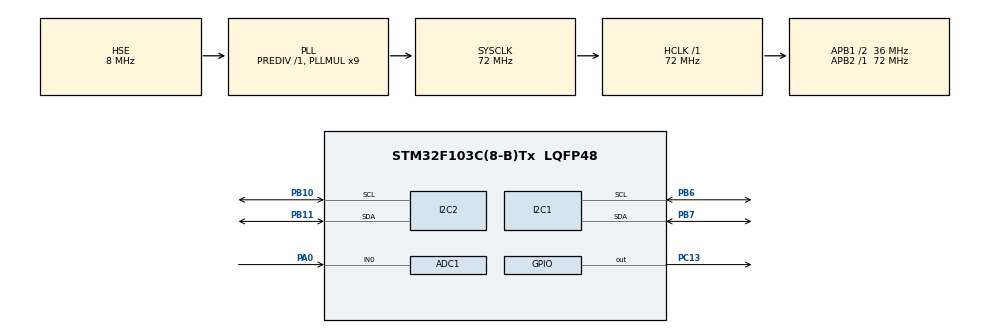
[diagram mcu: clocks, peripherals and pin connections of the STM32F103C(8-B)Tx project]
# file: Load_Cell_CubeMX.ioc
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ADC1.Channel-0\#ChannelRegularConversion=ADC_CHANNEL_0
ADC1.ContinuousConvMode=ENABLE
ADC1.EnableRegularConversion=ENABLE
ADC1.NbrOfConversionFlag=1
ADC1.Rank-0\#ChannelRegularConversion=1
ADC1.SamplingTime-0\#ChannelRegularConversion=ADC_SAMPLETIME_41CYCLES_5
ADC1.master=1
Dma.ADC1.0.Direction=DMA_PERIPH_TO_MEMORY
Dma.ADC1.0.Instance=DMA1_Channel1
Dma.ADC1.0.MemDataAlignment=DMA_MDATAALIGN_HALFWORD
Dma.ADC1.0.MemInc=DMA_MINC_ENABLE
Dma.ADC1.0.Mode=DMA_CIRCULAR
Dma.ADC1.0.PeriphDataAlignment=DMA_PDATAALIGN_WORD
Dma.ADC1.0.PeriphInc=DMA_PINC_DISABLE
Dma.ADC1.0.Priority=DMA_PRIORITY_LOW
Dma.Request0=ADC1
Mcu.Family=STM32F1
Mcu.Name=STM32F103C(8-B)Tx
Mcu.Package=LQFP48
NVIC.ADC1_2_IRQn=true\:0\:0\:false\:false\:true\:true\:true
NVIC.DMA1_Channel1_IRQn=true\:0\:0\:false\:false\:true\:false\:true
NVIC.PriorityGroup=NVIC_PRIORITYGROUP_4
PA0-WKUP.Signal=ADCx_IN0
PA13.Mode=Serial_Wire
PA13.Signal=SYS_JTMS-SWDIO
PA14.Mode=Serial_Wire
PA14.Signal=SYS_JTCK-SWCLK
PB10.Mode=I2C
PB10.Signal=I2C2_SCL
PB11.Mode=I2C
PB11.Signal=I2C2_SDA
PB6.Mode=I2C
PB6.Signal=I2C1_SCL
PB7.Mode=I2C
PB7.Signal=I2C1_SDA
PC13-TAMPER-RTC.Signal=GPIO_Output
PD0-OSC_IN.Mode=HSE-External-Oscillator
PD0-OSC_IN.Signal=RCC_OSC_IN
PD1-OSC_OUT.Mode=HSE-External-Oscillator
PD1-OSC_OUT.Signal=RCC_OSC_OUT
ProjectManager.HeapSize=0x200
ProjectManager.StackSize=0x400
ProjectManager.TargetToolchain=MDK-ARM V5
RCC.ADCPresc=RCC_ADCPCLK2_DIV6
RCC.AHBFreq_Value=72000000
RCC.APB1CLKDivider=RCC_HCLK_DIV2
RCC.APB1Freq_Value=36000000
RCC.APB1TimFreq_Value=72000000
RCC.APB2Freq_Value=72000000
RCC.APB2TimFreq_Value=72000000
RCC.HCLKFreq_Value=72000000
RCC.PLLMUL=RCC_PLL_MUL9
RCC.PLLSourceVirtual=RCC_PLLSOURCE_HSE
RCC.SYSCLKFreq_VALUE=72000000
RCC.SYSCLKSource=RCC_SYSCLKSOURCE_PLLCLK
RCC.USBFreq_Value=72000000
SH.ADCx_IN0.0=ADC1_IN0,IN0
TIM1.Period=0xffff-1
TIM1.Prescaler=1-1
VP_ADC1_TempSens_Input.Mode=IN-TempSens
VP_TIM1_VS_ClockSourceINT.Mode=Internal
board=custom

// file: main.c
/* USER CODE BEGIN Header */
/**
  ******************************************************************************
  * @file           : main.c
  * @brief          : Main program body
  ******************************************************************************
  * @attention
  *
  * <h2><center>&copy; Copyright (c) 2019 STMicroelectronics.
  * All rights reserved.</center></h2>
  *
  * This software component is licensed by ST under BSD 3-Clause license,
  * the "License"; You may not use this file except in compliance with the
  * License. You may obtain a copy of the License at:
  *                        opensource.org/licenses/BSD-3-Clause
  *
  ******************************************************************************
  */
/* USER CODE END Header */

#include "main.h"

/* USER CODE BEGIN Includes */
#include "i2c-lcd.h"
#include "stdio.h"
/* USER CODE END Includes */

ADC_HandleTypeDef hadc1;
DMA_HandleTypeDef hdma_adc1;

I2C_HandleTypeDef hi2c1;
I2C_HandleTypeDef hi2c2;

TIM_HandleTypeDef htim1;

/* USER CODE BEGIN PV */
double adc_value;
unsigned long int sample;
double sum;
//char adc_lcd;
//char *test=&adc_lcd;
char adc_lcd_memory;
char *adc_lcd=&adc_lcd_memory;
char offset_lcd_memory;
char *offset_lcd=&offset_lcd_memory;
double weight;
double weight_pre;
double adc_offset =300;
double pre;
double gain;
uint32_t adc_dma;
/* USER CODE END PV */

void SystemClock_Config(void);
static void MX_GPIO_Init(void);
static void MX_ADC1_Init(void);
static void MX_I2C1_Init(void);
static void MX_DMA_Init(void);
static void MX_I2C2_Init(void);
static void MX_TIM1_Init(void);
/* USER CODE BEGIN PFP */

void HAL_ADC_ConvCpltCallback(ADC_HandleTypeDef* hadc)
{
	//if(hadc->Instance==hadc1.Instance)
		//sum+=HAL_ADC_GetValue(&hadc1);
		/*sum+=adc_dma;
		sample++;
		HAL_ADC_Stop_DMA(&hadc1);
		HAL_ADC_Start_DMA(&hadc1,&adc_dma,32);
		if (sample==1400)
		{
			HAL_ADC_Stop_DMA(&hadc1);
		}*/
}
void delay (uint16_t delay)
{__HAL_TIM_SET_COUNTER(&htim1,0);
while(__HAL_TIM_GET_COUNTER(&htim1)<delay);
}
void delay1s(void)
{for(int i=1;i<40000;i++)
	delay(100);}
void clear_lcd(void)
{lcd_goto_XY(1,0);
	lcd_send_string("                ");
	lcd_goto_XY(2,0);
	lcd_send_string("                ");
}
void clear_warning(void)
{lcd_goto_XY(2,10);
	lcd_send_string("            ");
}
double lowpass(double pre, uint32_t now)
{
	return((1-0.00042094746)*pre+0.00042094746*(float)now);
}
void get_weight(void)
{ sum=0;
	sample=0;
	while(sample<3000)
	{//sum+=adc_dma;
		pre=lowpass(pre,adc_dma);
		sum+=pre;
		sample++;
	}
	adc_value=sum/(double)sample;
	weight=gain*(adc_value-adc_offset);
}
double average(void)
{double sum_average=0;
	double sample_average=0;
	while (sample_average<5)
	{sum_average+=(double) adc_dma;
		sample_average++;
	}
	return(sum_average/sample_average);}
void calculate_offset()
{ double sum=0;
	clear_lcd();
	for(int i=0;i<3;i++)
	{
	lcd_goto_XY(1,0);
	lcd_send_string ("Tinh toan diem 0 cua can: ");
	//get_weight();
	sum+=average();
	lcd_goto_XY(2,5*i-1);
	lcd_send_string (".......");
	}
	adc_offset=sum/3.0;
	clear_lcd();
	lcd_goto_XY(1,0);
	lcd_send_string ("Gia tri Vref: ");
	sprintf(offset_lcd,"%3.8f",adc_offset*3.2/4095);
	lcd_goto_XY(2,0);
	lcd_send_string(offset_lcd);
	lcd_goto_XY(2,10);
	lcd_send_string ("V");
	lcd_goto_XY(2,12);
	sprintf(offset_lcd,"%d",(int) adc_offset);
	lcd_send_string(offset_lcd);
	for(int i=1;i<20000;i++)
	delay(100);
	clear_lcd();
	lcd_goto_XY(1,0);
	lcd_send_string ("Dat vat len can ");
	for(int i=1;i<40000;i++)
	delay(100);
}
void warning_high_adc()
{ clear_lcd();
	lcd_goto_XY(1,0);
	lcd_send_string("     Luu y:  ");
	delay1s();
	clear_lcd();
	lcd_goto_XY(1,0);
	lcd_send_string("Vuot qua khoi   ");
	lcd_goto_XY(2,0);
	lcd_send_string("luong do duoc  ");
	delay1s();
	delay1s();
	clear_lcd();
	lcd_goto_XY(1,0);
	lcd_send_string("   Huong dan: ");
	delay1s();
	clear_lcd();
	lcd_goto_XY(1,0);
	lcd_send_string("Giam khoi luong");
	lcd_goto_XY(2,0);
	lcd_send_string("hoac van Vref ");
	delay1s();
	delay1s();
	clear_lcd();
	lcd_goto_XY(1,0);
	lcd_send_string("nguoc chieu kim");
	lcd_goto_XY(2,0);
	delay1s();
	delay1s();
	clear_lcd();
	lcd_goto_XY(1,0);
	lcd_send_string("   Nhac lai: ");
	delay1s();
	clear_lcd();
	lcd_goto_XY(1,0);
	lcd_send_string("Giam khoi luong");
	lcd_goto_XY(2,0);
	lcd_send_string("hoac van Vref ");
	delay1s();
	delay1s();
	clear_lcd();
	lcd_goto_XY(1,0);
	lcd_send_string("nguoc chieu kim");
	lcd_goto_XY(2,0);
	lcd_send_string("dong ho ");
	delay1s();
	delay1s();
	clear_lcd();
}
void warning_low_adc()
{ clear_lcd();
	lcd_goto_XY(1,0);
	lcd_send_string("     Luu y:  ");
	delay1s();
	clear_lcd();
	lcd_goto_XY(1,0);
	lcd_send_string ("Tang Vref len de");
	lcd_goto_XY(2,0);
	lcd_send_string ("co ket qua chuan");
	delay1s();
	delay1s();
	clear_lcd();
	lcd_goto_XY(1,0);
	lcd_send_string("   Huong dan: ");
	delay1s();
	clear_lcd();
	lcd_goto_XY(1,0);
	lcd_send_string(" Van Vref cung ");
	lcd_goto_XY(2,0);
	lcd_send_string(" chieu dong ho");
	delay1s();
	delay1s();
	clear_lcd();
	lcd_goto_XY(1,0);
	lcd_send_string("   Nhac lai: ");
	delay1s();
	clear_lcd();
	lcd_goto_XY(1,0);
	lcd_send_string(" Van Vref cung ");
	lcd_goto_XY(2,0);
	lcd_send_string(" chieu dong ho");
	delay1s();
	delay1s();
	clear_lcd();
}
void main_warning_low__adc()
	{
	clear_lcd();
	lcd_goto_XY(1,0);
	lcd_send_string("     Luu y:  ");
	HAL_Delay(1000);
	clear_lcd();
	lcd_goto_XY(1,0);
	lcd_send_string ("Tang Vref len de");
	lcd_goto_XY(2,0);
	lcd_send_string ("co ket qua chuan");
	HAL_Delay(2000);
	clear_lcd();
	lcd_goto_XY(1,0);
	lcd_send_string("   Huong dan: ");
	HAL_Delay(1000);
	clear_lcd();
	lcd_goto_XY(1,0);
	lcd_send_string(" Van Vref cung ");
	lcd_goto_XY(2,0);
	lcd_send_string(" chieu dong ho");
	HAL_Delay(2000);
	clear_lcd();
	lcd_goto_XY(1,0);
	lcd_send_string("   Nhac lai: ");
	HAL_Delay(1000);
	clear_lcd();
	lcd_goto_XY(1,0);
	lcd_send_string(" Van Vref cung ");
	lcd_goto_XY(2,0);
	lcd_send_string(" chieu dong ho");
	HAL_Delay(2000);
	clear_lcd();
}
/* USER CODE END PFP */

int main(void)
{

  /* MCU Configuration--------------------------------------------------------*/

  /* Reset of all peripherals, Initializes the Flash interface and the Systick. */
  HAL_Init();

  /* Configure the system clock */
  SystemClock_Config();

  /* Initialize all configured peripherals */
  MX_GPIO_Init();
  MX_ADC1_Init();
  MX_I2C1_Init();
  MX_DMA_Init();
  MX_I2C2_Init();
  MX_TIM1_Init();
  /* USER CODE BEGIN 2 */
	HAL_TIM_Base_Start(&htim1);
	if( HAL_ADC_Start(&hadc1) != HAL_OK)
  return 0;
	if (HAL_ADC_Start_DMA(&hadc1,&adc_dma, 1) != HAL_OK)
  return 0;
	HAL_Delay(100);
	lcd_init();
	/*for(int i=0;i<4;i++)
	{
	lcd_goto_XY(1,0);
	lcd_send_string ("Lay vat khoi can");
	lcd_goto_XY(2,4*i);
	lcd_send_string ("....");
	HAL_Delay(100);}*/
	calculate_offset();
	pre=adc_offset;
	gain=0.58860863291;//0.5918*166/170*166/162*166.5/167.5;
	clear_lcd();
	if (adc_offset<400)
	warning_low_adc();
	//HAL_ADC_Start_DMA (&hadc1, &buffer,1);
  /* USER CODE END 2 */

  /* Infinite loop */
  while (1)
  {

}

void SystemClock_Config(void)
{
  RCC_OscInitTypeDef RCC_OscInitStruct = {0};
  RCC_ClkInitTypeDef RCC_ClkInitStruct = {0};
  RCC_PeriphCLKInitTypeDef PeriphClkInit = {0};

  /** Initializes the CPU, AHB and APB busses clocks
  */
  RCC_OscInitStruct.OscillatorType = RCC_OSCILLATORTYPE_HSE;
  RCC_OscInitStruct.HSEState = RCC_HSE_ON;
  RCC_OscInitStruct.HSEPredivValue = RCC_HSE_PREDIV_DIV1;
  RCC_OscInitStruct.HSIState = RCC_HSI_ON;
  RCC_OscInitStruct.PLL.PLLState = RCC_PLL_ON;
  RCC_OscInitStruct.PLL.PLLSource = RCC_PLLSOURCE_HSE;
  RCC_OscInitStruct.PLL.PLLMUL = RCC_PLL_MUL9;
  if (HAL_RCC_OscConfig(&RCC_OscInitStruct) != HAL_OK)
  {
    Error_Handler();
  }
  /** Initializes the CPU, AHB and APB busses clocks
  */
  RCC_ClkInitStruct.ClockType = RCC_CLOCKTYPE_HCLK|RCC_CLOCKTYPE_SYSCLK
                              |RCC_CLOCKTYPE_PCLK1|RCC_CLOCKTYPE_PCLK2;
  RCC_ClkInitStruct.SYSCLKSource = RCC_SYSCLKSOURCE_PLLCLK;
  RCC_ClkInitStruct.AHBCLKDivider = RCC_SYSCLK_DIV1;
  RCC_ClkInitStruct.APB1CLKDivider = RCC_HCLK_DIV2;
  RCC_ClkInitStruct.APB2CLKDivider = RCC_HCLK_DIV1;

  if (HAL_RCC_ClockConfig(&RCC_ClkInitStruct, FLASH_LATENCY_2) != HAL_OK)
  {
    Error_Handler();
  }
  PeriphClkInit.PeriphClockSelection = RCC_PERIPHCLK_ADC;
  PeriphClkInit.AdcClockSelection = RCC_ADCPCLK2_DIV6;
  if (HAL_RCCEx_PeriphCLKConfig(&PeriphClkInit) != HAL_OK)
  {
    Error_Handler();
  }
}

static void MX_ADC1_Init(void)
{

  ADC_ChannelConfTypeDef sConfig = {0};

  /** Common config
  */
  hadc1.Instance = ADC1;
  hadc1.Init.ScanConvMode = ADC_SCAN_DISABLE;
  hadc1.Init.ContinuousConvMode = ENABLE;
  hadc1.Init.DiscontinuousConvMode = DISABLE;
  hadc1.Init.ExternalTrigConv = ADC_SOFTWARE_START;
  hadc1.Init.DataAlign = ADC_DATAALIGN_RIGHT;
  hadc1.Init.NbrOfConversion = 1;
  if (HAL_ADC_Init(&hadc1) != HAL_OK)
  {
    Error_Handler();
  }
  /** Configure Regular Channel
  */
  sConfig.Channel = ADC_CHANNEL_0;
  sConfig.Rank = ADC_REGULAR_RANK_1;
  sConfig.SamplingTime = ADC_SAMPLETIME_41CYCLES_5;
  if (HAL_ADC_ConfigChannel(&hadc1, &sConfig) != HAL_OK)
  {
    Error_Handler();
  }

}

static void MX_I2C1_Init(void)
{

  hi2c1.Instance = I2C1;
  hi2c1.Init.ClockSpeed = 100000;
  hi2c1.Init.DutyCycle = I2C_DUTYCYCLE_2;
  hi2c1.Init.OwnAddress1 = 0;
  hi2c1.Init.AddressingMode = I2C_ADDRESSINGMODE_7BIT;
  hi2c1.Init.DualAddressMode = I2C_DUALADDRESS_DISABLE;
  hi2c1.Init.OwnAddress2 = 0;
  hi2c1.Init.GeneralCallMode = I2C_GENERALCALL_DISABLE;
  hi2c1.Init.NoStretchMode = I2C_NOSTRETCH_DISABLE;
  if (HAL_I2C_Init(&hi2c1) != HAL_OK)
  {
    Error_Handler();
  }

}

static void MX_I2C2_Init(void)
{

  hi2c2.Instance = I2C2;
  hi2c2.Init.ClockSpeed = 100000;
  hi2c2.Init.DutyCycle = I2C_DUTYCYCLE_2;
  hi2c2.Init.OwnAddress1 = 0;
  hi2c2.Init.AddressingMode = I2C_ADDRESSINGMODE_7BIT;
  hi2c2.Init.DualAddressMode = I2C_DUALADDRESS_DISABLE;
  hi2c2.Init.OwnAddress2 = 0;
  hi2c2.Init.GeneralCallMode = I2C_GENERALCALL_DISABLE;
  hi2c2.Init.NoStretchMode = I2C_NOSTRETCH_DISABLE;
  if (HAL_I2C_Init(&hi2c2) != HAL_OK)
  {
    Error_Handler();
  }

}

static void MX_TIM1_Init(void)
{

  TIM_ClockConfigTypeDef sClockSourceConfig = {0};
  TIM_MasterConfigTypeDef sMasterConfig = {0};

  htim1.Instance = TIM1;
  htim1.Init.Prescaler = 1-1;
  htim1.Init.CounterMode = TIM_COUNTERMODE_UP;
  htim1.Init.Period = 0xffff-1;
  htim1.Init.ClockDivision = TIM_CLOCKDIVISION_DIV1;
  htim1.Init.RepetitionCounter = 0;
  htim1.Init.AutoReloadPreload = TIM_AUTORELOAD_PRELOAD_DISABLE;
  if (HAL_TIM_Base_Init(&htim1) != HAL_OK)
  {
    Error_Handler();
  }
  sClockSourceConfig.ClockSource = TIM_CLOCKSOURCE_INTERNAL;
  if (HAL_TIM_ConfigClockSource(&htim1, &sClockSourceConfig) != HAL_OK)
  {
    Error_Handler();
  }
  sMasterConfig.MasterOutputTrigger = TIM_TRGO_RESET;
  sMasterConfig.MasterSlaveMode = TIM_MASTERSLAVEMODE_DISABLE;
  if (HAL_TIMEx_MasterConfigSynchronization(&htim1, &sMasterConfig) != HAL_OK)
  {
    Error_Handler();
  }

}

static void MX_DMA_Init(void)
{

  /* DMA controller clock enable */
  __HAL_RCC_DMA1_CLK_ENABLE();

  /* DMA interrupt init */
  /* DMA1_Channel1_IRQn interrupt configuration */
  HAL_NVIC_SetPriority(DMA1_Channel1_IRQn, 0, 0);
  HAL_NVIC_EnableIRQ(DMA1_Channel1_IRQn);

}

static void MX_GPIO_Init(void)
{
  GPIO_InitTypeDef GPIO_InitStruct = {0};

  /* GPIO Ports Clock Enable */
  __HAL_RCC_GPIOC_CLK_ENABLE();
  __HAL_RCC_GPIOD_CLK_ENABLE();
  __HAL_RCC_GPIOA_CLK_ENABLE();
  __HAL_RCC_GPIOB_CLK_ENABLE();

  /*Configure GPIO pin Output Level */
  HAL_GPIO_WritePin(GPIOC, GPIO_PIN_13, GPIO_PIN_RESET);

  /*Configure GPIO pin : PC13 */
  GPIO_InitStruct.Pin = GPIO_PIN_13;
  GPIO_InitStruct.Mode = GPIO_MODE_OUTPUT_PP;
  GPIO_InitStruct.Pull = GPIO_NOPULL;
  GPIO_InitStruct.Speed = GPIO_SPEED_FREQ_LOW;
  HAL_GPIO_Init(GPIOC, &GPIO_InitStruct);

}

void Error_Handler(void)
{
}

/************************ (C) COPYRIGHT STMicroelectronics *****END OF FILE****/
